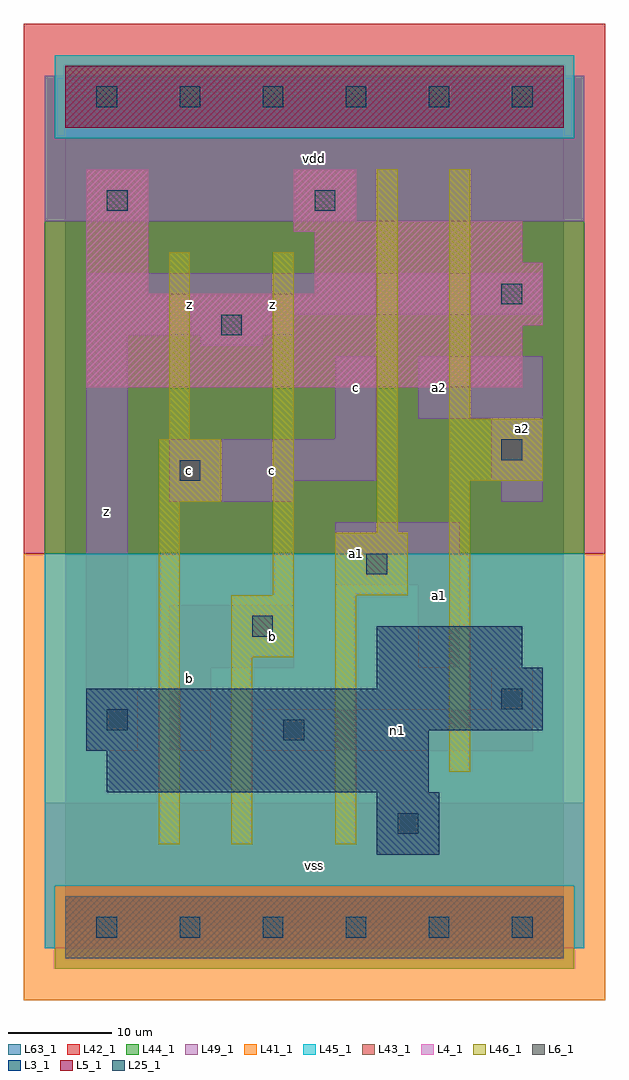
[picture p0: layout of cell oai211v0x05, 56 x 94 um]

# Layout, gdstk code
import gdstk
lib = gdstk.Library(unit=1e-6, precision=1e-09)
def R(c, l, rs):  # rectangles x0, y0, x1, y1
    for r in rs: c.add(gdstk.rectangle(r[:2], r[2:], *l))
def A(c, l, x, y, w, h, nx, ny, dx, dy):  # array of equal rectangles
    R(c, l, [(x+i*dx, y+j*dy, x+i*dx+w, y+j*dy+h) for i in range(nx) for j in range(ny)])
L3_1 = (3, 1)
L4_1 = (4, 1)
L5_1 = (5, 1)
L6_1 = (6, 1)
L25_1 = (25, 1)
L41_1 = (41, 1)
L42_1 = (42, 1)
L43_1 = (43, 1)
L44_1 = (44, 1)
L45_1 = (45, 1)
L46_1 = (46, 1)
L49_1 = (49, 1)
L63_1 = (63, 1)

oai211v0x05 = lib.new_cell('oai211v0x05')
R(oai211v0x05, L3_1, [(30,7,36,13), (4,13,35,17), (2,17,35,19), (2,19,46,23), (30,23,46,25), (30,25,44,29)])
R(oai211v0x05, L4_1, [(2,52,44,58), (2,58,46,61), (2,61,8,73), (24,61,46,64), (24,64,44,67), (22,67,44,68), (22,68,28,73)])
R(oai211v0x05, L5_1, [(0,77,48,83)])
R(oai211v0x05, L6_1, [(0,-3,48,3), (0,-3,48,3)])
A(oai211v0x05, L25_1, 3, -1, 2, 2, 6, 2, 8, 80)
R(oai211v0x05, L25_1, [(32,9,34,11), (21,18,23,20), (4,19,6,21), (42,21,44,23), (18,28,20,30), (29,34,31,36), (11,43,13,45), (42,45,44,47), (15,57,17,59), (42,60,44,62), (4,69,6,71), (24,69,26,71)])
R(oai211v0x05, L41_1, [(-4,-7,52,36)])
R(oai211v0x05, L42_1, [(-4,36,52,87)])
R(oai211v0x05, L43_1, [(0,-3,48,3), (30,7,36,13), (4,13,35,17), (2,17,35,19), (2,19,46,23), (30,23,46,25), (30,25,44,29), (2,52,44,58), (2,58,46,61), (2,61,8,73), (24,61,46,64), (24,64,44,67), (22,67,44,68), (22,68,28,73), (0,77,48,83)])
R(oai211v0x05, L44_1, [(-1,-4,49,4), (-2,36,50,76), (-2,76,-1,82), (49,76,50,82)])
R(oai211v0x05, L45_1, [(-2,-2,-1,4), (49,-2,50,4), (-2,4,50,36), (-1,76,49,84)])
R(oai211v0x05, L46_1, [(9,8,11,41), (16,8,18,26), (26,8,28,32), (37,15,39,43), (16,26,22,32), (20,32,22,65), (26,32,33,38), (30,38,32,73), (9,41,15,47), (37,43,46,49), (10,47,12,65), (37,49,39,73)])
R(oai211v0x05, L49_1, [(-2,-2,50,12), (2,17,7,23), (10,17,14,25), (19,17,45,21), (41,21,45,25), (2,23,6,57), (10,25,22,31), (34,25,38,33), (26,33,38,39), (10,41,22,43), (42,41,46,43), (10,43,30,47), (41,43,46,49), (26,47,30,55), (34,49,46,55), (13,56,19,57), (2,57,22,59), (2,59,46,63), (-2,68,50,82)])
R(oai211v0x05, L63_1, [(0,0,48,80)])
oai211v0x05.add(gdstk.Label('z', (4,40), layer=49, texttype=1))
oai211v0x05.add(gdstk.Label('b', (12,24), layer=49, texttype=1))
oai211v0x05.add(gdstk.Label('c', (12,44), layer=49, texttype=1))
oai211v0x05.add(gdstk.Label('z', (12,60), layer=49, texttype=1))
oai211v0x05.add(gdstk.Label('vss', (24,6), layer=49, texttype=1))
oai211v0x05.add(gdstk.Label('b', (20,28), layer=49, texttype=1))
oai211v0x05.add(gdstk.Label('c', (20,44), layer=49, texttype=1))
oai211v0x05.add(gdstk.Label('z', (20,60), layer=49, texttype=1))
oai211v0x05.add(gdstk.Label('vdd', (24,74), layer=49, texttype=1))
oai211v0x05.add(gdstk.Label('a1', (36,32), layer=49, texttype=1))
oai211v0x05.add(gdstk.Label('a1', (28,36), layer=49, texttype=1))
oai211v0x05.add(gdstk.Label('a2', (36,52), layer=49, texttype=1))
oai211v0x05.add(gdstk.Label('c', (28,52), layer=49, texttype=1))
oai211v0x05.add(gdstk.Label('n1', (32,19), layer=49, texttype=1))
oai211v0x05.add(gdstk.Label('a2', (44,48), layer=49, texttype=1))

lib.write_gds('oai211v0x05.gds')
